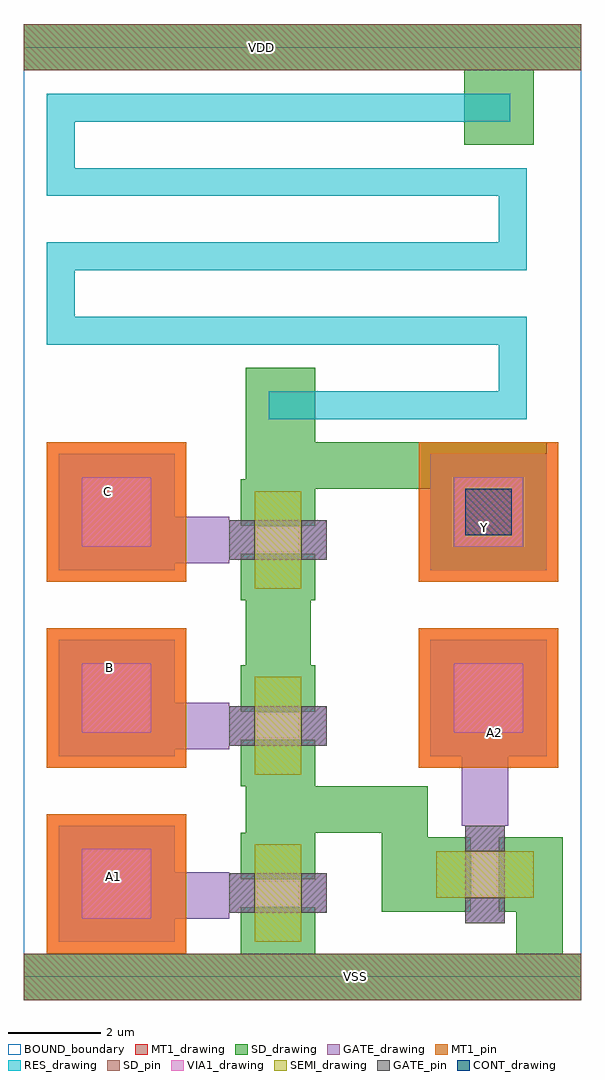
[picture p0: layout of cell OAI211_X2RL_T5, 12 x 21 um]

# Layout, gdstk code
from math import pi, radians
import gdstk
lib = gdstk.Library(unit=1e-6, precision=1e-09)
def R(c, l, rs):  # rectangles x0, y0, x1, y1
    for r in rs: c.add(gdstk.rectangle(r[:2], r[2:], *l))
def A(c, l, x, y, w, h, nx, ny, dx, dy):  # array of equal rectangles
    R(c, l, [(x+i*dx, y+j*dy, x+i*dx+w, y+j*dy+h) for i in range(nx) for j in range(ny)])
def P(c, l, *ps):  # polygons
    for p in ps: c.add(gdstk.Polygon(p, *l))
RES_drawing = (1, 0)
SEMI_drawing = (3, 0)
SD_drawing = (10, 0)
SD_pin = (10, 3)
GATE_drawing = (11, 0)
GATE_pin = (11, 3)
MT1_drawing = (20, 0)
MT1_pin = (20, 3)
CONT_drawing = (30, 0)
VIA1_drawing = (41, 0)
BOUND_boundary = (150, 5)

nch_cdns_772545089120 = lib.new_cell('nch_CDNS_772545089120')
R(nch_cdns_772545089120, SEMI_drawing, [(-1.05,-0.5,1.05,0.5)])
R(nch_cdns_772545089120, SD_drawing, [(-1.3,-0.8,-0.3,0.8), (0.3,-0.8,1.3,0.8)])
R(nch_cdns_772545089120, GATE_drawing, [(-0.425,-1.05,0.425,1.05)])
R(nch_cdns_772545089120, GATE_pin, [(-0.425,-1.05,0.425,-0.5), (-0.425,0.5,0.425,1.05)])

sd_gate_cdns_77254508912 = lib.new_cell('SD_GATE_CDNS_772545089120')
R(sd_gate_cdns_77254508912, SD_drawing, [(-1.25,-1.25,1.25,1.25)])
R(sd_gate_cdns_77254508912, GATE_drawing, [(-1.25,-1.25,1.25,1.25)])
R(sd_gate_cdns_77254508912, CONT_drawing, [(-0.5,-0.5,0.5,0.5)])

gate_mt1_cdns_7725450891 = lib.new_cell('GATE_MT1_CDNS_772545089121')
R(gate_mt1_cdns_7725450891, GATE_drawing, [(-1.25,-1.25,1.25,1.25)])
R(gate_mt1_cdns_7725450891, MT1_drawing, [(-1.25,-1.25,1.25,1.25)])
R(gate_mt1_cdns_7725450891, VIA1_drawing, [(-0.75,-0.75,0.75,0.75)])

oai211_x2rl_t5 = lib.new_cell('OAI211_X2RL_T5')
R(oai211_x2rl_t5, SD_drawing, [(0,-0.5,12,0.5), (10.6,0.5,11.6,3), (7.7,1.4,8.7,4.1), (4.775,3.1,8.7,4.1), (4.775,10.5,11.25,11.5), (4.775,11.5,6.275,13.1), (9.475,17.9,10.975,19.5), (0,19.5,12,20.5)])
R(oai211_x2rl_t5, SD_pin, [(0,-0.5,12,0.5), (0,19.5,12,20.5)])
P(oai211_x2rl_t5, GATE_drawing, [(4.325,9.9),(4.325,8.9),(4.425,8.9),(4.425,9.025),(4.475,9.025),(4.475,9.775),(4.425,9.775),(4.425,9.9)],
  [(4.325,5.9),(4.325,4.9),(4.425,4.9),(4.425,5.025),(4.475,5.025),(4.475,5.775),(4.425,5.775),(4.425,5.9)],
  [(4.325,2.25),(4.325,1.25),(4.425,1.25),(4.425,1.425),(4.475,1.425),(4.475,2.175),(4.425,2.175),(4.425,2.25)],
  [(10.425,3.35),(9.425,3.35),(9.425,3.25),(9.55,3.25),(9.55,3.2),(10.3,3.2),(10.3,3.25),(10.425,3.25)])
A(oai211_x2rl_t5, MT1_drawing, 0.5, 0.5, 3, 3, 1, 3, 0, 4)
R(oai211_x2rl_t5, MT1_drawing, [(8.5,4.5,11.5,7.5), (8.5,8.5,11.5,11.5)])
A(oai211_x2rl_t5, MT1_pin, 0.5, 0.5, 3, 3, 1, 3, 0, 4)
R(oai211_x2rl_t5, MT1_pin, [(8.5,4.5,11.5,7.5), (8.5,8.5,11.5,11.5)])
R(oai211_x2rl_t5, BOUND_boundary, [(0,0,12,20)])
oai211_x2rl_t5.add(gdstk.FlexPath([(5.475,3.1),(5.475,4.1)], 1.4, ends="flush", simple_path=True, layer=10, datatype=0))  # SD_drawing
oai211_x2rl_t5.add(gdstk.FlexPath([(5.475,6.7),(5.475,8.1)], 1.4, ends="flush", simple_path=True, layer=10, datatype=0))  # SD_drawing
oai211_x2rl_t5.add(gdstk.FlexPath([(9.925,3.35),(9.925,4.8)], 1, ends="flush", simple_path=True, layer=11, datatype=0))  # GATE_drawing
oai211_x2rl_t5.add(gdstk.FlexPath([(4.325,9.4),(3.2,9.4)], 1, ends="flush", simple_path=True, layer=11, datatype=0))  # GATE_drawing
oai211_x2rl_t5.add(gdstk.FlexPath([(4.325,5.4),(3.2,5.4)], 1, ends="flush", simple_path=True, layer=11, datatype=0))  # GATE_drawing
oai211_x2rl_t5.add(gdstk.FlexPath([(4.325,1.75),(3.2,1.75)], 1, ends="flush", simple_path=True, layer=11, datatype=0))  # GATE_drawing
oai211_x2rl_t5.add(gdstk.FlexPath([(6.275,12.3),(10.525,12.3),(10.525,13.9),(0.8,13.9),(0.8,15.5),(10.525,15.5),(10.525,17.1),(0.8,17.1),(0.8,18.7),(9.475,18.7)], 0.6, ends=(1, 1), simple_path=True, layer=1, datatype=0))  # RES_drawing
oai211_x2rl_t5.add(gdstk.Reference(nch_cdns_772545089120, (9.925,2.2), rotation=pi))
oai211_x2rl_t5.add(gdstk.Reference(nch_cdns_772545089120, (5.475,1.8), rotation=pi/2))
oai211_x2rl_t5.add(gdstk.Reference(nch_cdns_772545089120, (5.475,5.4), rotation=pi/2))
oai211_x2rl_t5.add(gdstk.Reference(nch_cdns_772545089120, (5.475,9.4), rotation=pi/2))
oai211_x2rl_t5.add(gdstk.Reference(sd_gate_cdns_77254508912, (10,10)))
oai211_x2rl_t5.add(gdstk.Reference(gate_mt1_cdns_7725450891, (10,10)))
oai211_x2rl_t5.add(gdstk.Reference(gate_mt1_cdns_7725450891, (10,6)))
oai211_x2rl_t5.add(gdstk.Reference(gate_mt1_cdns_7725450891, (2,10)))
oai211_x2rl_t5.add(gdstk.Reference(gate_mt1_cdns_7725450891, (2,2)))
oai211_x2rl_t5.add(gdstk.Reference(gate_mt1_cdns_7725450891, (2,6)))
oai211_x2rl_t5.add(gdstk.Label('VDD', (5.125,20), layer=10, texttype=3))
oai211_x2rl_t5.add(gdstk.Label('VSS', (7.15,0), layer=10, texttype=3))
oai211_x2rl_t5.add(gdstk.Label('A2', (10.125,5.25), layer=20, texttype=3))
oai211_x2rl_t5.add(gdstk.Label('Y', (9.925,9.675), layer=20, texttype=3))
oai211_x2rl_t5.add(gdstk.Label('C', (1.8,10.45), layer=20, texttype=3))
oai211_x2rl_t5.add(gdstk.Label('B', (1.85,6.65), layer=20, texttype=3))
oai211_x2rl_t5.add(gdstk.Label('A1', (1.925,2.15), layer=20, texttype=3))

lib.write_gds('OAI211_X2RL_T5.gds')
